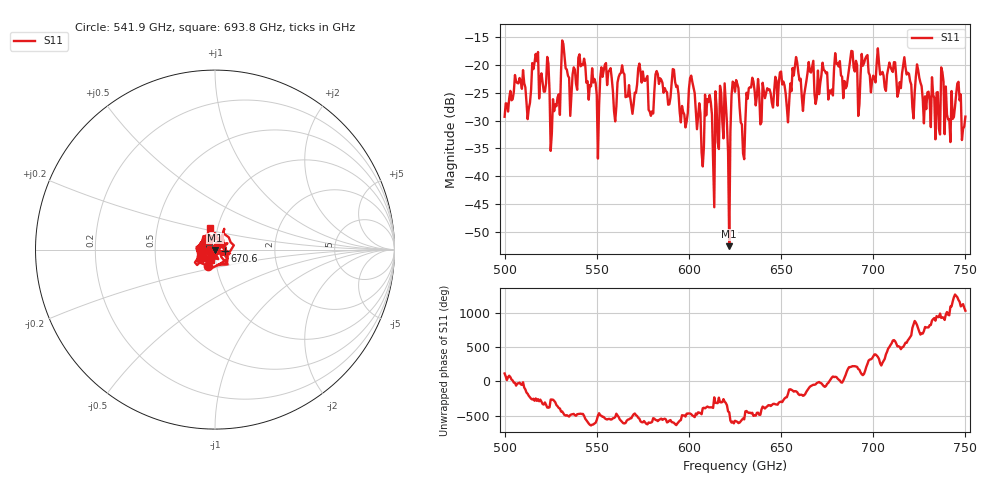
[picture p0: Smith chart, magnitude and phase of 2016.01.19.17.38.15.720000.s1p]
!Created with skrf (http://scikit-rf.org).
# GHz S RI R 50.0
!freq ReS11 ImS11
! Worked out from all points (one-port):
!   401 points, 500 GHz to 750 GHz, reference 50 ohm
!   lowest |S11| = -52.5 dB at 621.9 GHz (marker M1), VSWR 1.00, Z = 50 - j0.237 ohm
!   |S11| at or under -10 dB: start of sweep to end of sweep
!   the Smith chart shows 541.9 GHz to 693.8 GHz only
!   S11 on the Smith chart (normalised r, x): 541.9 GHz: 0.91, -0.17; 670.6 GHz: 1.11, -0.02; 693.8 GHz: 0.92, +0.23
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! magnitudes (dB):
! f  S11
! 500 GHz  -29.3
! 513.1 GHz  -27.9
! 516.9 GHz  -18.1
! 526.2 GHz  -26.2
! 531.2 GHz  -15.7
! 541.9 GHz  -19.9
! 550 GHz  -25.4
! 562.5 GHz  -21.7
! 573.8 GHz  -21.3
! 579.4 GHz  -29.2
! 583.1 GHz  -21.7
! 593.8 GHz  -23.8
! 598.1 GHz  -31.2
! 601.9 GHz  -23.1
! 606.9 GHz  -35.7
! 611.2 GHz  -25.4
! 614.4 GHz  -24.8
! 618.1 GHz  -30.2
! 621.9 GHz  -52.5
! 625 GHz  -24.9
! 629.4 GHz  -35.9
! 633.8 GHz  -24.1
! 656.2 GHz  -20.6
! 670.6 GHz  -25.3
! 687.5 GHz  -19.2
! 693.8 GHz  -18.1
! 718.8 GHz  -21.4
! 750 GHz  -29.3
